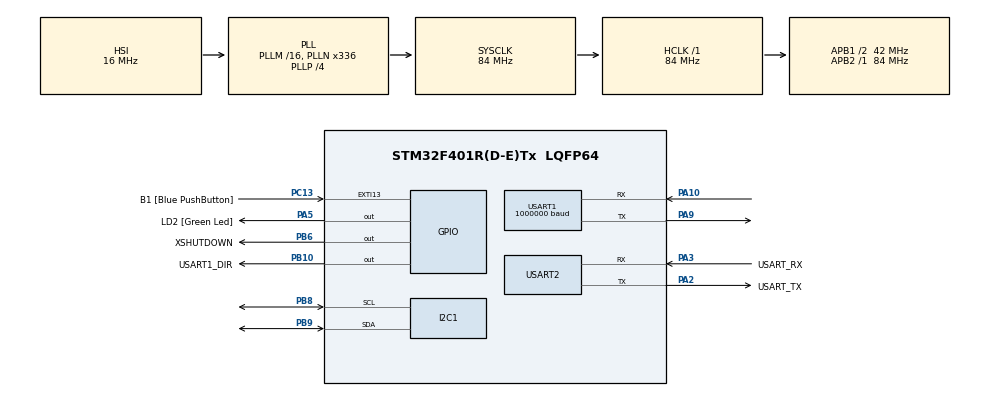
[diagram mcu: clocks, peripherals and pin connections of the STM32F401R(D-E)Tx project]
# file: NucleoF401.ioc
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I2C1.I2C_Mode=I2C_Fast
Mcu.Family=STM32F4
Mcu.Name=STM32F401R(D-E)Tx
Mcu.Package=LQFP64
NVIC.EXTI15_10_IRQn=true\:0\:0\:false\:false\:true\:true
NVIC.PriorityGroup=NVIC_PRIORITYGROUP_0
NVIC.TIM3_IRQn=true\:0\:0\:false\:false\:true\:true
PA10.Mode=Asynchronous
PA10.Signal=USART1_RX
PA13.GPIO_Label=TMS
PA13.Signal=SYS_JTMS-SWDIO
PA14.GPIO_Label=TCK
PA14.Signal=SYS_JTCK-SWCLK
PA2.GPIO_Label=USART_TX
PA2.GPIO_Mode=GPIO_MODE_AF_PP
PA2.GPIO_PuPd=GPIO_NOPULL
PA2.GPIO_Speed=GPIO_SPEED_FREQ_LOW
PA2.Mode=Asynchronous
PA2.Signal=USART2_TX
PA3.GPIO_Label=USART_RX
PA3.GPIO_Mode=GPIO_MODE_AF_PP
PA3.GPIO_PuPd=GPIO_NOPULL
PA3.GPIO_Speed=GPIO_SPEED_FREQ_LOW
PA3.Mode=Asynchronous
PA3.Signal=USART2_RX
PA5.GPIO_Label=LD2 [Green Led]
PA5.GPIO_Mode=GPIO_MODE_OUTPUT_PP
PA5.GPIO_PuPd=GPIO_NOPULL
PA5.GPIO_Speed=GPIO_SPEED_FREQ_LOW
PA5.Signal=GPIO_Output
PA9.Mode=Asynchronous
PA9.Signal=USART1_TX
PB10.GPIO_Label=USART1_DIR
PB10.Signal=GPIO_Output
PB3.GPIO_Label=SWO
PB3.Signal=SYS_JTDO-SWO
PB6.GPIO_Label=XSHUTDOWN
PB6.Signal=GPIO_Output
PB8.Mode=I2C
PB8.Signal=I2C1_SCL
PB9.Mode=I2C
PB9.Signal=I2C1_SDA
PC13-ANTI_TAMP.GPIO_Label=B1 [Blue PushButton]
PC13-ANTI_TAMP.GPIO_ModeDefaultEXTI=GPIO_MODE_IT_FALLING
PC13-ANTI_TAMP.GPIO_PuPd=GPIO_NOPULL
PC13-ANTI_TAMP.Signal=GPXTI13
PC14-OSC32_IN.Signal=RCC_OSC32_IN
PC15-OSC32_OUT.Signal=RCC_OSC32_OUT
PH0\ -\ OSC_IN.Signal=RCC_OSC_IN
PH1\ -\ OSC_OUT.Signal=RCC_OSC_OUT
ProjectManager.HeapSize=0x200
ProjectManager.StackSize=0x400
ProjectManager.TargetToolchain=Makefile
RCC.AHBFreq_Value=84000000
RCC.APB1CLKDivider=RCC_HCLK_DIV2
RCC.APB1Freq_Value=42000000
RCC.APB1TimFreq_Value=84000000
RCC.APB2Freq_Value=84000000
RCC.APB2TimFreq_Value=84000000
RCC.CortexFreq_Value=84000000
RCC.HCLKFreq_Value=84000000
RCC.HSE_VALUE=8000000
RCC.HSI_VALUE=16000000
RCC.LSE_VALUE=32768
RCC.PLLN=336
RCC.PLLP=RCC_PLLP_DIV4
RCC.PLLQ=7
RCC.SYSCLKFreq_VALUE=84000000
RCC.SYSCLKSource=RCC_SYSCLKSOURCE_PLLCLK
RCC.VCOOutputFreq_Value=336000000
TIM3.Period=1000-1
TIM3.Prescaler=42000-1
USART1.BaudRate=1000000
USART1.VirtualMode=VM_ASYNC
USART2.VirtualMode=VM_ASYNC
VP_TIM3_VS_ClockSourceINT.Mode=Internal
board=NUCLEO-F401RE

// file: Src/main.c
/**
  ******************************************************************************
  * @file           : main.c
  * @brief          : Main program body
  ******************************************************************************
  ** This notice applies to any and all portions of this file
  * that are not between comment pairs USER CODE BEGIN and
  * USER CODE END. Other portions of this file, whether
  * inserted by the user or by software development tools
  * are owned by their respective copyright owners.
  *
  * COPYRIGHT(c) 2018 STMicroelectronics
  *
  * Redistribution and use in source and binary forms, with or without modification,
  * are permitted provided that the following conditions are met:
  *   1. Redistributions of source code must retain the above copyright notice,
  *      this list of conditions and the following disclaimer.
  *   2. Redistributions in binary form must reproduce the above copyright notice,
  *      this list of conditions and the following disclaimer in the documentation
  *      and/or other materials provided with the distribution.
  *   3. Neither the name of STMicroelectronics nor the names of its contributors
  *      may be used to endorse or promote products derived from this software
  *      without specific prior written permission.
  *
  * THIS SOFTWARE IS PROVIDED BY THE COPYRIGHT HOLDERS AND CONTRIBUTORS "AS IS"
  * AND ANY EXPRESS OR IMPLIED WARRANTIES, INCLUDING, BUT NOT LIMITED TO, THE
  * IMPLIED WARRANTIES OF MERCHANTABILITY AND FITNESS FOR A PARTICULAR PURPOSE ARE
  * DISCLAIMED. IN NO EVENT SHALL THE COPYRIGHT HOLDER OR CONTRIBUTORS BE LIABLE
  * FOR ANY DIRECT, INDIRECT, INCIDENTAL, SPECIAL, EXEMPLARY, OR CONSEQUENTIAL
  * DAMAGES (INCLUDING, BUT NOT LIMITED TO, PROCUREMENT OF SUBSTITUTE GOODS OR
  * SERVICES; LOSS OF USE, DATA, OR PROFITS; OR BUSINESS INTERRUPTION) HOWEVER
  * CAUSED AND ON ANY THEORY OF LIABILITY, WHETHER IN CONTRACT, STRICT LIABILITY,
  * OR TORT (INCLUDING NEGLIGENCE OR OTHERWISE) ARISING IN ANY WAY OUT OF THE USE
  * OF THIS SOFTWARE, EVEN IF ADVISED OF THE POSSIBILITY OF SUCH DAMAGE.
  *
  ******************************************************************************
  */
#include "main.h"
#include "stm32f4xx_hal.h"
#include "i2c.h"
#include "tim.h"
#include "usart.h"
#include "gpio.h"

/* USER CODE BEGIN Includes */
#include "vl53l0x_api.h"
#include "X-NUCLEO-53L0A1.h"
#include <limits.h>
#include <stdlib.h>
#include "servo.h"
#include "xl_320.h"
#include "capteur.h"

/** Time the initial 53L0 message is shown at power up */
#define WelcomeTime 660

#ifndef MIN
#   define MIN(a,b) ((a) < (b) ? (a) : (b))
#endif

#ifndef ARRAY_SIZE
#   define ARRAY_SIZE(x) (sizeof((x))/sizeof((x)[0]))
#endif

/* USER CODE END Includes */

/* USER CODE BEGIN PV */
/* Private variables ---------------------------------------------------------*/
typedef enum {
	RANGE_VALUE 	= 0, /*!< Range displayed in cm */
	BAR_GRAPH 		= 1, /*!< Range displayed as a bar graph : one bar per sensor */
} DemoMode_e;
char *DemoModeTxt[1] = {" HI "};

/**
 * Global ranging struct
 */
VL53L0X_RangingMeasurementData_t RangingMeasurementData;

/** leaky factor for filtered range
 *
 * r(n) = averaged_r(n-1)*leaky +r(n)(1-leaky)
 *
 * */
int LeakyFactorFix8 = (int)( 0.6 *256);
/** How many device detect set by @a DetectSensors()*/
int nDevPresent=0;
/** bit is index in VL53L0XDevs that is not necessary the dev id of the BSP */
int nDevMask;

VL53L0X_Dev_t VL53L0XDevs[]={
		{.Id=XNUCLEO53L0A1_DEV_LEFT, .DevLetter='l', .I2cHandle=&XNUCLEO53L0A1_hi2c, .I2cDevAddr=0x52},
		{.Id=XNUCLEO53L0A1_DEV_CENTER, .DevLetter='c', .I2cHandle=&XNUCLEO53L0A1_hi2c, .I2cDevAddr=0x52},
		{.Id=XNUCLEO53L0A1_DEV_RIGHT, .DevLetter='r', .I2cHandle=&XNUCLEO53L0A1_hi2c, .I2cDevAddr=0x52},
};

/* USER CODE END PV */

void ResetAndDetectSensor(int SetDisplay);

/* USER CODE BEGIN PFP */
/* Private function prototypes -----------------------------------------------*/

/* USER CODE END PFP */

/* USER CODE BEGIN 0 */

void blink_led(int valeur, int* compteur){
	  /* 6 is an arbitrary number that works */
    if (*compteur == 6){
			  /* Stop the led timer */
        HAL_TIM_Base_Stop_IT(&htim3);
				/* Modify the led period according a homemade straight line */
        htim3.Instance->ARR = 2*valeur-1+20;
				/* Restart the led timer */
				HAL_TIM_Base_Start_IT(&htim3);
				/* Reset the led timer and the counter */
        htim3.Instance->CNT = 0;
        *compteur = 0;
    }
}

/* USER CODE END 0 */

int main(void)
{
  /* USER CODE BEGIN 1 */
  RangingConfig_e RangingConfig = LONG_RANGE;
  DemoMode_e DemoMode = RANGE_VALUE;
  int UseSensorsMask = 1<<XNUCLEO53L0A1_DEV_CENTER;

  /* USER CODE END 1 */

  /* MCU Configuration----------------------------------------------------------*/

  /* Reset of all peripherals, Initializes the Flash interface and the Systick. */
  HAL_Init();

  /* Configure the system clock */
  SystemClock_Config();

  /* Initialize all configured peripherals */
  MX_GPIO_Init();
  MX_USART1_UART_Init();
  MX_TIM3_Init();
  MX_USART2_UART_Init();
  MX_I2C1_Init();

  /* USER CODE BEGIN 2 */
	XNUCLEO53L0A1_Init();
	HAL_Delay(WelcomeTime);
	ResetAndDetectSensor(1);
  HAL_TIM_Base_Start_IT(&htim3);

  //////XL maintenance ----------------------
  XL_Interface interface;
  XL320InterfaceDefine(&interface);

  HAL_Delay(100);

  XL servo[2];
  uint16_t nbServos; //number of detected servos
  uint8_t nbmaxServosWanted = 2; //number max of servos controle
  XL320ServosActivation(&interface, servo, nbmaxServosWanted, &nbServos);

  int pas = 0;
  /* USER CODE END 2 */

  /* Infinite loop */
  /* USER CODE BEGIN WHILE */
  while (1)
  {
		 /* Reset and Detect all sensors */
		 ResetAndDetectSensor(0);

     /* Start Ranging demo */
     RangeDemo(UseSensorsMask, RangingConfig, servo);

  /* USER CODE END WHILE */

  }

}

void SystemClock_Config(void)
{

  RCC_OscInitTypeDef RCC_OscInitStruct;
  RCC_ClkInitTypeDef RCC_ClkInitStruct;

    /**Configure the main internal regulator output voltage
    */
  __HAL_RCC_PWR_CLK_ENABLE();

  __HAL_PWR_VOLTAGESCALING_CONFIG(PWR_REGULATOR_VOLTAGE_SCALE2);

    /**Initializes the CPU, AHB and APB busses clocks
    */
  RCC_OscInitStruct.OscillatorType = RCC_OSCILLATORTYPE_HSI;
  RCC_OscInitStruct.HSIState = RCC_HSI_ON;
  RCC_OscInitStruct.HSICalibrationValue = 16;
  RCC_OscInitStruct.PLL.PLLState = RCC_PLL_ON;
  RCC_OscInitStruct.PLL.PLLSource = RCC_PLLSOURCE_HSI;
  RCC_OscInitStruct.PLL.PLLM = 16;
  RCC_OscInitStruct.PLL.PLLN = 336;
  RCC_OscInitStruct.PLL.PLLP = RCC_PLLP_DIV4;
  RCC_OscInitStruct.PLL.PLLQ = 7;
  if (HAL_RCC_OscConfig(&RCC_OscInitStruct) != HAL_OK)
  {
    _Error_Handler(__FILE__, __LINE__);
  }

    /**Initializes the CPU, AHB and APB busses clocks
    */
  RCC_ClkInitStruct.ClockType = RCC_CLOCKTYPE_HCLK|RCC_CLOCKTYPE_SYSCLK
                              |RCC_CLOCKTYPE_PCLK1|RCC_CLOCKTYPE_PCLK2;
  RCC_ClkInitStruct.SYSCLKSource = RCC_SYSCLKSOURCE_PLLCLK;
  RCC_ClkInitStruct.AHBCLKDivider = RCC_SYSCLK_DIV1;
  RCC_ClkInitStruct.APB1CLKDivider = RCC_HCLK_DIV2;
  RCC_ClkInitStruct.APB2CLKDivider = RCC_HCLK_DIV1;

  if (HAL_RCC_ClockConfig(&RCC_ClkInitStruct, FLASH_LATENCY_2) != HAL_OK)
  {
    _Error_Handler(__FILE__, __LINE__);
  }

    /**Configure the Systick interrupt time
    */
  HAL_SYSTICK_Config(HAL_RCC_GetHCLKFreq()/1000);

    /**Configure the Systick
    */
  HAL_SYSTICK_CLKSourceConfig(SYSTICK_CLKSOURCE_HCLK);

  /* SysTick_IRQn interrupt configuration */
  HAL_NVIC_SetPriority(SysTick_IRQn, 0, 0);
}

/* USER CODE BEGIN 4 */
void HAL_TIM_PeriodElapsedCallback(TIM_HandleTypeDef* htim){
    if(htim->Instance == htim3.Instance){
        HAL_GPIO_TogglePin(LD2_GPIO_Port, LD2_Pin);
    }
}

/* USER CODE END 4 */

void _Error_Handler(char *file, int line)
{
  while(1)
  {
  }
}

/************************ (C) COPYRIGHT STMicroelectronics *****END OF FILE****/
